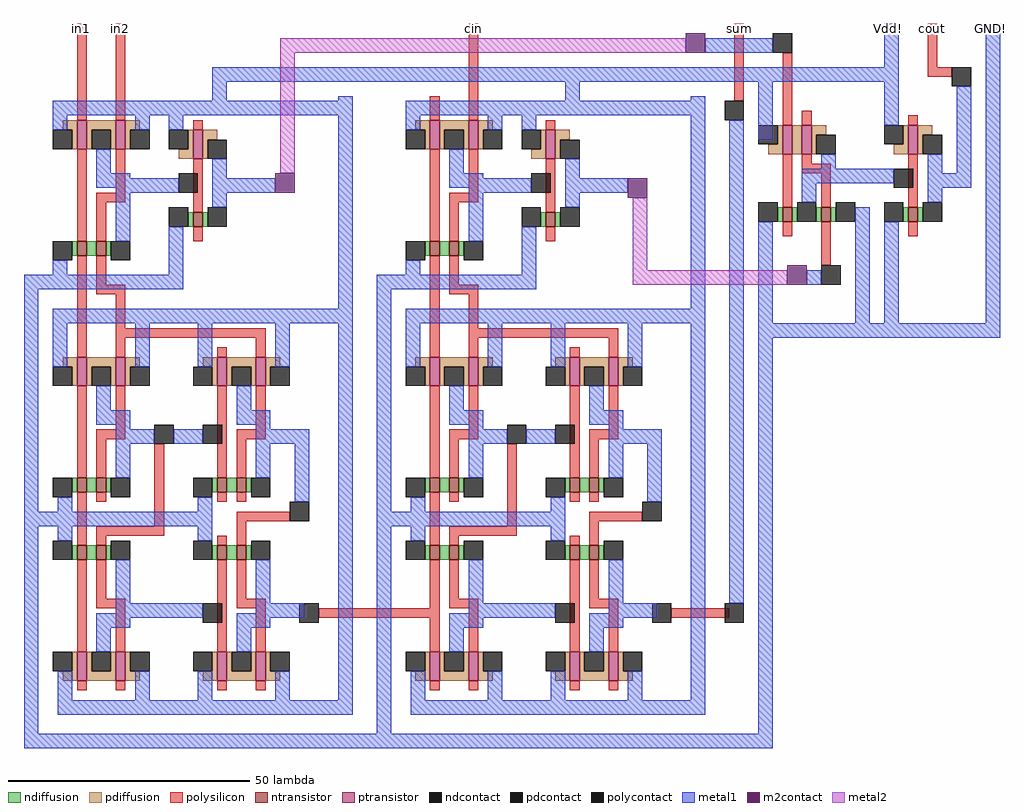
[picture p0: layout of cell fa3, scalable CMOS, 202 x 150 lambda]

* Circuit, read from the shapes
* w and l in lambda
.subckt fa3 GND! Vdd! cin cout in1 in2 sum
M1 n1 in1 GND! VSUBS nfet w=3 l=2
M2 n2 in1 GND! VSUBS nfet w=3 l=2
M3 n3 in1 GND! VSUBS nfet w=3 l=2
M4 ha_0/xor2_0/nand2_4/nand_in1 ha_0/xor2_0/nand2_2/nand_in1 n1 VSUBS nfet w=3 l=2
M5 ha_0/xor2_0/nand2_2/nand_in1 in2 n2 VSUBS nfet w=3 l=2
M6 ha_0/nand2_0/nand_out in2 n3 VSUBS nfet w=3 l=2
M7 ha_0/ha_cout ha_0/nand2_0/nand_out GND! VSUBS nfet w=3 l=2
M8 n4 ha_0/xor2_0/nand2_4/nand_in1 GND! VSUBS nfet w=3 l=2
M9 n5 ha_0/xor2_0/nand2_2/nand_in1 GND! VSUBS nfet w=3 l=2
M10 ha_1/ha_in1 ha_0/xor2_0/nand2_4/nand_in2 n4 VSUBS nfet w=3 l=2
M11 ha_0/xor2_0/nand2_4/nand_in2 in2 n5 VSUBS nfet w=3 l=2
M12 n6 ha_1/ha_in1 GND! VSUBS nfet w=3 l=2
M13 n7 ha_1/ha_in1 GND! VSUBS nfet w=3 l=2
M14 n8 ha_1/ha_in1 GND! VSUBS nfet w=3 l=2
M15 ha_1/xor2_0/nand2_4/nand_in1 ha_1/xor2_0/nand2_2/nand_in1 n6 VSUBS nfet w=3 l=2
M16 ha_1/xor2_0/nand2_2/nand_in1 cin n7 VSUBS nfet w=3 l=2
M17 ha_1/nand2_0/nand_out cin n8 VSUBS nfet w=3 l=2
M18 ha_1/ha_cout ha_1/nand2_0/nand_out GND! VSUBS nfet w=3 l=2
M19 n9 ha_1/xor2_0/nand2_4/nand_in1 GND! VSUBS nfet w=3 l=2
M20 n10 ha_1/xor2_0/nand2_2/nand_in1 GND! VSUBS nfet w=3 l=2
M21 sum ha_1/xor2_0/nand2_4/nand_in2 n9 VSUBS nfet w=3 l=2
M22 ha_1/xor2_0/nand2_4/nand_in2 cin n10 VSUBS nfet w=3 l=2
M23 not1_0/not_in ha_0/ha_cout GND! VSUBS nfet w=3 l=2
M24 GND! ha_1/ha_cout not1_0/not_in VSUBS nfet w=3 l=2
M25 cout not1_0/not_in GND! VSUBS nfet w=3 l=2
M26 ha_0/xor2_0/nand2_4/nand_in1 in1 Vdd! NWELL pfet w=6 l=2
M27 ha_0/xor2_0/nand2_2/nand_in1 in1 Vdd! NWELL pfet w=6 l=2
M28 ha_0/nand2_0/nand_out in1 Vdd! NWELL pfet w=6 l=2
M29 Vdd! ha_0/xor2_0/nand2_2/nand_in1 ha_0/xor2_0/nand2_4/nand_in1 NWELL pfet w=6 l=2
M30 Vdd! in2 ha_0/xor2_0/nand2_2/nand_in1 NWELL pfet w=6 l=2
M31 Vdd! in2 ha_0/nand2_0/nand_out NWELL pfet w=6 l=2
M32 ha_0/ha_cout ha_0/nand2_0/nand_out Vdd! NWELL pfet w=6 l=2
M33 ha_1/ha_in1 ha_0/xor2_0/nand2_4/nand_in1 Vdd! NWELL pfet w=6 l=2
M34 ha_0/xor2_0/nand2_4/nand_in2 ha_0/xor2_0/nand2_2/nand_in1 Vdd! NWELL pfet w=6 l=2
M35 Vdd! ha_0/xor2_0/nand2_4/nand_in2 ha_1/ha_in1 NWELL pfet w=6 l=2
M36 Vdd! in2 ha_0/xor2_0/nand2_4/nand_in2 NWELL pfet w=6 l=2
M37 ha_1/xor2_0/nand2_4/nand_in1 ha_1/ha_in1 Vdd! NWELL pfet w=6 l=2
M38 ha_1/xor2_0/nand2_2/nand_in1 ha_1/ha_in1 Vdd! NWELL pfet w=6 l=2
M39 ha_1/nand2_0/nand_out ha_1/ha_in1 Vdd! NWELL pfet w=6 l=2
M40 Vdd! ha_1/xor2_0/nand2_2/nand_in1 ha_1/xor2_0/nand2_4/nand_in1 NWELL pfet w=6 l=2
M41 Vdd! cin ha_1/xor2_0/nand2_2/nand_in1 NWELL pfet w=6 l=2
M42 Vdd! cin ha_1/nand2_0/nand_out NWELL pfet w=6 l=2
M43 ha_1/ha_cout ha_1/nand2_0/nand_out Vdd! NWELL pfet w=6 l=2
M44 sum ha_1/xor2_0/nand2_4/nand_in1 Vdd! NWELL pfet w=6 l=2
M45 ha_1/xor2_0/nand2_4/nand_in2 ha_1/xor2_0/nand2_2/nand_in1 Vdd! NWELL pfet w=6 l=2
M46 Vdd! ha_1/xor2_0/nand2_4/nand_in2 sum NWELL pfet w=6 l=2
M47 Vdd! cin ha_1/xor2_0/nand2_4/nand_in2 NWELL pfet w=6 l=2
M48 n11 ha_0/ha_cout Vdd! NWELL pfet w=6 l=2
M49 not1_0/not_in ha_1/ha_cout n11 NWELL pfet w=6 l=2
M50 cout not1_0/not_in Vdd! NWELL pfet w=6 l=2
.ends

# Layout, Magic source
magic
tech scmos
<< polysilicon >>
rect 11 132 13 147
rect 19 132 21 147
rect 92 132 94 147
rect 147 131 149 147
rect 157 126 159 141
rect 187 138 189 147
rect 187 136 192 138
rect 165 97 167 104
rect 73 24 84 26
<< metal1 >>
rect 141 141 155 144
rect 178 138 181 147
rect 39 135 181 138
rect 39 131 42 135
rect 112 131 115 135
rect 146 27 149 127
rect 152 123 155 135
rect 178 126 181 135
rect 168 114 180 117
rect 193 116 196 134
rect 190 113 196 116
rect 152 85 155 106
rect 162 93 165 96
rect 172 85 175 109
rect 178 85 181 106
rect 199 85 202 147
rect 152 82 202 85
rect 152 0 155 82
rect 0 -3 155 0
<< metal2 >>
rect 53 141 137 144
rect 53 116 56 141
rect 126 96 129 111
rect 126 93 158 96
<< polycontact >>
rect 155 141 159 145
rect 145 127 149 131
rect 192 134 196 138
rect 180 113 184 117
rect 165 93 169 97
rect 145 23 149 27
<< m2contact >>
rect 137 141 141 145
rect 52 112 56 116
rect 125 111 129 115
rect 158 93 162 97
use ha ha_0
transform 1 0 0 0 1 0
box 0 0 73 132
use ha ha_1
transform 1 0 73 0 1 0
box 0 0 73 132
use nor2 nor2_0
transform 1 0 196 0 1 114
box -44 -11 -24 15
use not1 not1_0
transform 1 0 183 0 1 113
box -5 -10 7 15
<< labels >>
rlabel polysilicon 148 146 148 146 5 sum
rlabel metal1 179 146 179 146 5 Vdd!
rlabel metal1 200 146 200 146 6 GND!
rlabel polysilicon 188 146 188 146 5 cout
rlabel polysilicon 12 146 12 146 5 in1
rlabel polysilicon 20 146 20 146 5 in2
rlabel polysilicon 93 146 93 146 5 cin
<< end >>

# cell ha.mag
magic
tech scmos
<< polysilicon >>
rect 11 129 13 132
rect 19 129 21 132
rect 11 91 13 97
rect 15 93 17 97
rect 15 91 21 93
rect 61 24 73 26
<< metal1 >>
rect 65 131 68 132
rect 6 128 68 131
rect 6 125 9 128
rect 23 125 26 128
rect 30 125 33 128
rect 22 112 32 115
rect 42 112 52 115
rect 6 95 9 98
rect 30 95 33 105
rect 0 92 33 95
rect 0 0 3 92
rect 65 88 68 128
<< polycontact >>
rect 32 112 36 116
rect 57 23 61 27
use nand2 nand2_0
transform 1 0 50 0 1 105
box -44 -8 -24 24
use not1 not1_0
transform 1 0 35 0 1 112
box -5 -10 7 15
use xor2 xor2_0
transform 1 0 47 0 1 62
box -47 -62 21 29
<< labels >>
rlabel polysilicon 12 131 12 131 5 ha_in1
rlabel polysilicon 20 131 20 131 5 ha_in2
rlabel polysilicon 72 25 72 25 7 ha_sum
rlabel metal1 51 113 51 113 7 ha_cout
rlabel metal1 66 128 66 128 5 Vdd!
rlabel metal1 2 94 2 94 3 GND!
<< end >>

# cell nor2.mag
magic
tech scmos
<< polysilicon >>
rect -39 12 -37 15
rect -35 12 -33 15
rect -39 -5 -37 6
rect -35 4 -33 6
rect -35 2 -29 4
rect -31 -5 -29 2
rect -39 -11 -37 -8
rect -31 -11 -29 -8
<< ndiffusion >>
rect -40 -8 -39 -5
rect -37 -8 -36 -5
rect -32 -8 -31 -5
rect -29 -8 -28 -5
<< pdiffusion >>
rect -40 8 -39 12
rect -42 6 -39 8
rect -37 6 -35 12
rect -33 10 -30 12
rect -33 6 -32 10
<< metal1 >>
rect -31 3 -28 6
rect -35 0 -28 3
rect -35 -4 -32 0
<< ntransistor >>
rect -39 -8 -37 -5
rect -31 -8 -29 -5
<< ptransistor >>
rect -39 6 -37 12
rect -35 6 -33 12
<< ndcontact >>
rect -44 -8 -40 -4
rect -36 -8 -32 -4
rect -28 -8 -24 -4
<< pdcontact >>
rect -44 8 -40 12
rect -32 6 -28 10
<< labels >>
rlabel metal1 -33 0 -33 0 1 out
rlabel ndcontact -42 -6 -42 -6 2 GND!
rlabel ndcontact -26 -6 -26 -6 8 GND!
rlabel pdcontact -42 10 -42 10 4 Vdd!
rlabel polysilicon -38 4 -38 4 1 in1
rlabel polysilicon -34 4 -34 4 1 in2
<< end >>

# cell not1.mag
magic
tech scmos
<< polysilicon >>
rect 0 13 2 15
rect 0 -4 2 7
rect 0 -10 2 -7
<< ndiffusion >>
rect -1 -7 0 -4
rect 2 -7 3 -4
<< pdiffusion >>
rect -1 9 0 13
rect -3 7 0 9
rect 2 11 5 13
rect 2 7 3 11
<< metal1 >>
rect 4 -3 7 7
<< ntransistor >>
rect 0 -7 2 -4
<< ptransistor >>
rect 0 7 2 13
<< ndcontact >>
rect -5 -7 -1 -3
rect 3 -7 7 -3
<< pdcontact >>
rect -5 9 -1 13
rect 3 7 7 11
<< labels >>
rlabel pdcontact -3 11 -3 11 1 Vdd
rlabel ndcontact -3 -5 -3 -5 1 GND
rlabel polysilicon 1 0 1 0 1 not_in
rlabel metal1 5 1 5 1 7 not_out
<< end >>

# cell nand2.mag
magic
tech scmos
<< polysilicon >>
rect -39 22 -37 24
rect -31 22 -29 24
rect -39 -3 -37 16
rect -31 7 -29 16
rect -35 5 -29 7
rect -35 -3 -33 5
rect -39 -8 -37 -6
rect -35 -8 -33 -6
<< ndiffusion >>
rect -40 -6 -39 -3
rect -37 -6 -35 -3
rect -33 -6 -32 -3
<< pdiffusion >>
rect -42 20 -39 22
rect -40 16 -39 20
rect -37 20 -31 22
rect -37 16 -36 20
rect -32 16 -31 20
rect -29 20 -26 22
rect -29 16 -28 20
<< metal1 >>
rect -35 11 -32 16
rect -35 8 -28 11
rect -31 -3 -28 8
<< ntransistor >>
rect -39 -6 -37 -3
rect -35 -6 -33 -3
<< ptransistor >>
rect -39 16 -37 22
rect -31 16 -29 22
<< ndcontact >>
rect -44 -7 -40 -3
rect -32 -7 -28 -3
<< pdcontact >>
rect -44 16 -40 20
rect -36 16 -32 20
rect -28 16 -24 20
<< labels >>
rlabel ndcontact -42 -5 -42 -5 4 GND!
rlabel pdcontact -42 18 -42 18 3 Vdd!
rlabel polysilicon -38 2 -38 2 1 nand_in1
rlabel polysilicon -34 2 -34 2 1 nand_in2
rlabel metal1 -30 2 -30 2 1 nand_out
rlabel pdcontact -26 18 -26 18 3 Vdd!
<< end >>

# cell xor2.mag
magic
tech scmos
<< polysilicon >>
rect -36 18 -34 29
rect -28 22 -26 29
rect -28 20 3 22
rect -28 18 -26 20
rect 1 18 3 20
rect -36 -21 -34 -14
rect -20 -19 -18 -2
rect -32 -21 -18 -19
rect -3 -18 8 -16
rect -3 -21 -1 -18
<< metal1 >>
rect -41 23 21 26
rect -41 14 -38 23
rect -24 14 -21 23
rect -11 14 -8 23
rect 5 14 8 23
rect -25 -2 -20 1
rect -16 -2 -10 1
rect 4 -2 12 1
rect -40 -16 -37 -13
rect -11 -16 -8 -13
rect 9 -14 12 -2
rect -47 -19 -8 -16
rect -47 -62 -44 -19
rect -40 -22 -37 -19
rect -11 -22 -8 -19
rect -25 -38 -10 -35
rect 4 -38 11 -35
rect -40 -55 -37 -49
rect -24 -55 -21 -49
rect -11 -55 -8 -49
rect 5 -55 8 -49
rect 18 -55 21 23
rect -40 -58 21 -55
<< polycontact >>
rect -20 -2 -16 2
rect -10 -2 -6 2
rect 8 -18 12 -14
rect -10 -39 -6 -35
use nand2 nand2_1
transform 1 0 3 0 1 -6
box -44 -8 -24 24
use nand2 nand2_2
transform 1 0 32 0 1 -6
box -44 -8 -24 24
use nand2 nand2_3
transform 1 0 3 0 -1 -29
box -44 -8 -24 24
use nand2 nand2_4
transform 1 0 32 0 -1 -29
box -44 -8 -24 24
<< labels >>
rlabel polysilicon -27 27 -27 27 1 xor_in2
rlabel metal1 19 -17 19 -17 1 Vdd!
rlabel metal1 -46 -60 -46 -60 1 GND!
rlabel metal1 10 -37 10 -37 1 xor_out
rlabel polysilicon -35 27 -35 27 5 xor_in1
<< end >>
